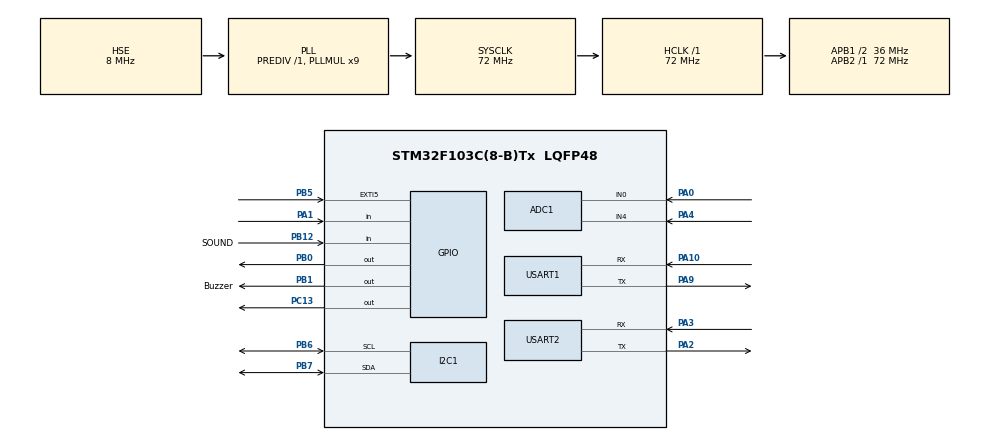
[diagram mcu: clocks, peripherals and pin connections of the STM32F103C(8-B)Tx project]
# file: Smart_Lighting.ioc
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ADC1.Channel-0\#ChannelRegularConversion=ADC_CHANNEL_0
ADC1.NbrOfConversionFlag=1
ADC1.Rank-0\#ChannelRegularConversion=1
ADC1.SamplingTime-0\#ChannelRegularConversion=ADC_SAMPLETIME_1CYCLE_5
ADC1.master=1
Mcu.Family=STM32F1
Mcu.Name=STM32F103C(8-B)Tx
Mcu.Package=LQFP48
NVIC.EXTI9_5_IRQn=true\:0\:0\:false\:false\:true\:true\:true
NVIC.PriorityGroup=NVIC_PRIORITYGROUP_4
NVIC.USART2_IRQn=true\:0\:0\:false\:false\:true\:true\:true
PA0-WKUP.Signal=ADCx_IN0
PA1.Signal=GPIO_Input
PA10.Mode=Asynchronous
PA10.Signal=USART1_RX
PA13.Mode=Serial_Wire
PA13.Signal=SYS_JTMS-SWDIO
PA14.Mode=Serial_Wire
PA14.Signal=SYS_JTCK-SWCLK
PA2.Mode=Asynchronous
PA2.Signal=USART2_TX
PA3.Mode=Asynchronous
PA3.Signal=USART2_RX
PA4.Signal=ADCx_IN4
PA9.Mode=Asynchronous
PA9.Signal=USART1_TX
PB0.Signal=GPIO_Output
PB1.GPIO_Label=Buzzer
PB1.PinState=GPIO_PIN_SET
PB1.Signal=GPIO_Output
PB12.GPIO_Label=SOUND
PB12.Signal=GPIO_Input
PB5.GPIO_ModeDefaultEXTI=GPIO_MODE_IT_RISING_FALLING
PB5.GPIO_PuPd=GPIO_PULLUP
PB5.Signal=GPXTI5
PB6.Mode=I2C
PB6.Signal=I2C1_SCL
PB7.Mode=I2C
PB7.Signal=I2C1_SDA
PC13-TAMPER-RTC.Signal=GPIO_Output
PD0-OSC_IN.Mode=HSE-External-Oscillator
PD0-OSC_IN.Signal=RCC_OSC_IN
PD1-OSC_OUT.Mode=HSE-External-Oscillator
PD1-OSC_OUT.Signal=RCC_OSC_OUT
ProjectManager.HeapSize=0x200
ProjectManager.StackSize=0x400
ProjectManager.TargetToolchain=MDK-ARM V5.27
RCC.ADCPresc=RCC_ADCPCLK2_DIV6
RCC.AHBFreq_Value=72000000
RCC.APB1CLKDivider=RCC_HCLK_DIV2
RCC.APB1Freq_Value=36000000
RCC.APB1TimFreq_Value=72000000
RCC.APB2Freq_Value=72000000
RCC.APB2TimFreq_Value=72000000
RCC.HCLKFreq_Value=72000000
RCC.PLLMUL=RCC_PLL_MUL9
RCC.PLLSourceVirtual=RCC_PLLSOURCE_HSE
RCC.SYSCLKFreq_VALUE=72000000
RCC.SYSCLKSource=RCC_SYSCLKSOURCE_PLLCLK
RCC.USBFreq_Value=72000000
SH.ADCx_IN0.0=ADC1_IN0,IN0
SH.ADCx_IN4.0=ADC1_IN4,IN4
USART1.VirtualMode=VM_ASYNC
USART2.VirtualMode=VM_ASYNC
board=custom

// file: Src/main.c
/* USER CODE BEGIN Header */
/**
  ******************************************************************************
  * @file           : main.c
  * @brief          : 智能灯控系统主程序
  ******************************************************************************
  */
/* USER CODE END Header */

#include "main.h"
#include "adc.h"
#include "i2c.h"
#include "usart.h"
#include "gpio.h"

/* USER CODE BEGIN Includes */
#include <stdio.h>
#include "oled.h"
#include <string.h>
#include "network_config.h"
/* USER CODE END Includes */

/* USER CODE BEGIN PD */
#define AUTO_OFF_DELAY  10000     //自动关灯延时时间
#define LIGHT_DARK_THRESHOLD 1500 // 光线判暗阈值
/* USER CODE END PD */

/* USER CODE BEGIN PV */
uint16_t light_value = 0;  // 光敏传感器ADC采集值 (0-4095)
uint16_t smoke_value = 0;  // 烟雾传感器ADC采集值 (0-4095)
uint8_t human_state = 0;   // 人体红外传感器状态 (0:无人, 1:有人)
uint8_t sound_state = 0;   // 声音传感器状态 (0:无声, 1:有声)

uint8_t cloud_light_on = 0; // 照明控制模式标志位 (0:自动控制, 1:手动控制)
uint8_t need_reply = 0;     // 云端指令响应标志位 (0:空闲, 1:需要发送回执)
char reply_id[20] = {0};    // 暂存云端下发的流水号ID，用于匹配回执

volatile uint8_t exti_short_press = 0; // 物理按键短按标志位
volatile uint8_t exti_long_press = 0;  // 物理按键长按标志位
uint32_t exti_down_time = 0;           // 记录按键按下的系统时间戳

uint32_t auto_light_off_time = 0; // 自动关灯的时间节点记录

volatile uint8_t need_reconnect = 0; // 网络断线重连标志位 (0:正常, 1:触发重连流程)
volatile uint8_t is_connecting = 0;  // 网络连接状态标志位 (0:空闲/已连接, 1:正在连接中)

uint32_t last_heartbeat_tick = 0;    // 上次发送心跳包的时间戳
volatile uint8_t error_count = 0;    // 通信错误容错计数器

// AT指令响应标志位，用于提前结束等待，加快指令执行速度
volatile uint8_t at_cmd_ok = 0;
/* USER CODE END PV */

void SystemClock_Config(void);
/* USER CODE BEGIN PFP */
void System_Core_Task(void);
/* USER CODE END PFP */

/* USER CODE BEGIN 0 */

/* --- 串口接收缓冲区定义 --- */
uint8_t rx_data;
char rx_buffer[512];
uint16_t rx_index = 0;

/* --- 串口接收中断回调函数 --- */
void HAL_UART_RxCpltCallback(UART_HandleTypeDef *huart)
{
    if (huart->Instance == USART2)
    {
        rx_buffer[rx_index++] = rx_data;
        if (rx_index >= 512) rx_index = 0; // 防止缓冲区溢出

        if (rx_data == '\n')
        {
            rx_buffer[rx_index] = '\0'; // 接收到换行符，完成一帧数据接收

            // 1. 解析云端下发的继电器开关指令
            if (strstr(rx_buffer, "\"relay\":true") != NULL)
            {
                cloud_light_on = 1;
                HAL_GPIO_WritePin(GPIOB, GPIO_PIN_0, GPIO_PIN_SET);
            }
            else if (strstr(rx_buffer, "\"relay\":false") != NULL)
            {
                cloud_light_on = 0;
                HAL_GPIO_WritePin(GPIOB, GPIO_PIN_0, GPIO_PIN_RESET);
            }

            // 2. 提取云端指令流水号ID，准备发送执行回执
            char *id_ptr = strstr(rx_buffer, "\"id\":\"");
            if (id_ptr != NULL)
            {
                id_ptr += 6;
                int i = 0;
                while (*id_ptr != '\"' && i < 19 && *id_ptr != '\0') {
                    reply_id[i++] = *id_ptr++;
                }
                reply_id[i] = '\0';
                need_reply = 1;
            }

            // 3. 检测指令执行成功标志位 (OK 或 获取到IP)，用于跳出延时阻塞
            if (strstr(rx_buffer, "OK") != NULL || strstr(rx_buffer, "GOT IP") != NULL) {
                at_cmd_ok = 1;
            }

            // 4. 网络异常监测与容错机制 (仅在正常运行状态下检测)
            if (is_connecting == 0)
            {
                // 检测到明确的断开连接提示，立即触发重连
                if (strstr(rx_buffer, "DISCONNECT") != NULL || strstr(rx_buffer, "CLOSED") != NULL)
                {
                    need_reconnect = 1;
                    error_count = 0;
                }
                // 检测到通信错误，进行容错计数累计
                else if (strstr(rx_buffer, "ERROR") != NULL)
                {
                    error_count++;
                    // 连续3次错误则判定网络断开，避免偶发卡顿导致频繁重连
                    if (error_count >= 3) {
                        need_reconnect = 1;
                        error_count = 0;
                    }
                }
                // 收到正常回复，清零通信错误计数
                else if (strstr(rx_buffer, "OK") != NULL)
                {
                    error_count = 0;
                }
            }

            // 清理缓冲区，准备接收下一帧数据
            rx_index = 0;
            memset(rx_buffer, 0, 512);
        }
        // 重新开启中断接收
        HAL_UART_Receive_IT(&huart2, &rx_data, 1);
    }
}

/* --- 发送WiFi模块AT指令 --- */
void WiFi_SendData(char *cmd) {
    HAL_UART_Transmit(&huart2, (uint8_t *)cmd, strlen(cmd), 100);
}

/*开机初始化网络配置流程*/
void WiFi_Init_Boot(void) {
    is_connecting = 1; // 标记系统正在连接网络
    // OLED 显示启动画面
    OLED_Clear();
    OLED_ShowString(0, 0, (uint8_t *)"Booting...", 16);
    OLED_ShowString(0, 2, (uint8_t *)"WiFi connecting", 16);
    // 延时等待 ESP8266 模块内部系统启动完成
    for(int i=0; i<10; i++) { HAL_GPIO_TogglePin(GPIOC, GPIO_PIN_13); HAL_Delay(200); }
    // 配置为 Station 模式
    rx_index = 0; memset(rx_buffer, 0, 512);
    at_cmd_ok = 0; WiFi_SendData("AT+CWMODE=1\r\n");
    for(int i=0; i<3; i++) { HAL_Delay(200); if(at_cmd_ok) break; }
    // 连接指定的 WiFi 热点
    rx_index = 0; memset(rx_buffer, 0, 512);
    at_cmd_ok = 0; WiFi_SendData(LIGHTING_WIFI_JOIN_CMD);
    for(int i=0; i<50; i++) { HAL_GPIO_TogglePin(GPIOC, GPIO_PIN_13); HAL_Delay(200); if(at_cmd_ok) break; }
    // 如果连接 WiFi 热点失败，跳出初始化流程，由主循环的重连机制接管
    if (at_cmd_ok == 0) {
        need_reconnect = 1;
        is_connecting = 1;
        rx_index = 0; memset(rx_buffer, 0, 512);
        OLED_Clear();
        return;
    }
    // WiFi 连接成功，继续配置 MQTT 云端连接
    rx_index = 0; memset(rx_buffer, 0, 512);
    at_cmd_ok = 0; WiFi_SendData("AT+MQTTCLEAN=0\r\n");
    for(int i=0; i<4; i++) { HAL_Delay(250); if(at_cmd_ok) break; }
    // 配置 OneNET 鉴权参数
    rx_index = 0; memset(rx_buffer, 0, 512);
    at_cmd_ok = 0; WiFi_SendData(LIGHTING_MQTT_CONFIG_CMD);
    for(int i=0; i<4; i++) { HAL_Delay(250); if(at_cmd_ok) break; }
    // 发起云端 MQTT 连接
    rx_index = 0; memset(rx_buffer, 0, 512);
    at_cmd_ok = 0; WiFi_SendData(LIGHTING_MQTT_CONNECT_CMD);
    for(int i=0; i<20; i++) { HAL_GPIO_TogglePin(GPIOC, GPIO_PIN_13); HAL_Delay(250); if(at_cmd_ok) break; }
    // 订阅云端控制 Topic
    rx_index = 0; memset(rx_buffer, 0, 512);
    at_cmd_ok = 0; WiFi_SendData(LIGHTING_MQTT_SUBSCRIBE_CMD);
    for(int i=0; i<8; i++) { HAL_Delay(250); if(at_cmd_ok) break; }
    // 检查网络初始化最终结果
    if (at_cmd_ok == 1) {
        need_reconnect = 0;
        is_connecting = 0; // 初始化成功，恢复常规运行状态
        error_count = 0;
    } else {
        need_reconnect = 1;
        is_connecting = 1; // 初始化失败，维持连接状态并触发重连
    }
    rx_index = 0; memset(rx_buffer, 0, 512);
    OLED_Clear();
}
/*系统核心任务调度：传感器读取、逻辑控制与UI刷新*/
void System_Core_Task(void) {
    // 1. 物理按键事件处理 (保证在阻塞重连期间依然有效响应)
    if (exti_short_press == 1)
    {
        exti_short_press = 0;
        cloud_light_on = !cloud_light_on; // 切换工作模式
        if (cloud_light_on == 1) HAL_GPIO_WritePin(GPIOB, GPIO_PIN_0, GPIO_PIN_SET);
        else                     HAL_GPIO_WritePin(GPIOB, GPIO_PIN_0, GPIO_PIN_RESET);

        // 蜂鸣器短音反馈
        HAL_GPIO_WritePin(GPIOB, GPIO_PIN_1, GPIO_PIN_RESET);
        HAL_Delay(50);
        HAL_GPIO_WritePin(GPIOB, GPIO_PIN_1, GPIO_PIN_SET);
    }

    if (exti_long_press == 1)
    {
        exti_long_press = 0;
        // 蜂鸣器长音反馈
        HAL_GPIO_WritePin(GPIOB, GPIO_PIN_1, GPIO_PIN_RESET);
        HAL_Delay(500);
        HAL_GPIO_WritePin(GPIOB, GPIO_PIN_1, GPIO_PIN_SET);
        need_reconnect = 1; // 触发网络重新配网流程
    }

    // 2. 系统状态指示灯控制 (PC13)
    if (is_connecting == 1) {
        // 网络连接中：快速闪烁
        HAL_GPIO_TogglePin(GPIOC, GPIO_PIN_13);
    } else if (cloud_light_on == 1) {
        // 手动模式：常亮 (注意：低电平 RESET 才是亮)
        HAL_GPIO_WritePin(GPIOC, GPIO_PIN_13, GPIO_PIN_RESET);
    } else {
        // 自动模式：心跳慢闪 (短促闪亮100ms，熄灭1900ms)
        uint32_t cycle_time = HAL_GetTick() % 2000;
        if (cycle_time < 100) HAL_GPIO_WritePin(GPIOC, GPIO_PIN_13, GPIO_PIN_RESET); // 亮
        else                  HAL_GPIO_WritePin(GPIOC, GPIO_PIN_13, GPIO_PIN_SET);   // 灭
    }

    // 3. 读取环境光照与烟雾浓度 (ADC采集)
    ADC_ChannelConfTypeDef sConfig = {0};
    sConfig.Channel = ADC_CHANNEL_0;
    sConfig.Rank = 1;
    sConfig.SamplingTime = ADC_SAMPLETIME_55CYCLES_5;
    HAL_ADC_ConfigChannel(&hadc1, &sConfig);
    HAL_ADC_Start(&hadc1);
    HAL_ADC_PollForConversion(&hadc1, 10);
    light_value = 4095 - HAL_ADC_GetValue(&hadc1);
    HAL_ADC_Stop(&hadc1);

    sConfig.Channel = ADC_CHANNEL_4;
    HAL_ADC_ConfigChannel(&hadc1, &sConfig);
    HAL_ADC_Start(&hadc1);
    HAL_ADC_PollForConversion(&hadc1, 10);
    smoke_value = HAL_ADC_GetValue(&hadc1);
    HAL_ADC_Stop(&hadc1);

    // 4. 读取人体红外与声音传感器状态 (GPIO)
    human_state = HAL_GPIO_ReadPin(GPIOA, GPIO_PIN_1);

    // 连续多次采样以提高声音传感器的捕获率
    static uint32_t sound_last_time = 0;
    for(int i = 0; i < 50; i++) {
        if(HAL_GPIO_ReadPin(GPIOB, GPIO_PIN_12) == GPIO_PIN_RESET) {
            sound_last_time = HAL_GetTick();
            break;
        }
        HAL_Delay(1);
    }
    // 维持声音状态 2 秒钟，防止状态闪烁
    if(HAL_GetTick() - sound_last_time < 2000) sound_state = 1;
    else sound_state = 0;

    // 5. OLED 界面数据显示
    char str_val[10];

    OLED_ShowChinese(0,  0, 0); // "光"
    OLED_ShowChinese(16, 0, 1); // "照"
    OLED_ShowString(32,  0, (uint8_t *)":", 16);
    sprintf(str_val, "%04d", light_value);
    OLED_ShowString(48,  0, (uint8_t *)str_val, 16);

    // 根据网络状态和工作模式显示右上角状态角标
    if (is_connecting == 1) {
        OLED_ShowString(96, 0, (uint8_t *)"Conn", 16);
    } else if(cloud_light_on == 0) {
        OLED_ShowString(96, 0, (uint8_t *)"Auto", 16);
    } else {
        OLED_ShowString(96, 0, (uint8_t *)"Manu", 16);
    }

    OLED_ShowChinese(0,  2, 2); // "烟"
    OLED_ShowChinese(16, 2, 3); // "雾"
    OLED_ShowString(32,  2, (uint8_t *)":", 16);
    sprintf(str_val, "%04d", smoke_value);
    OLED_ShowString(48,  2, (uint8_t *)str_val, 16);

    OLED_ShowChinese(0,  4, 4); // "人"
    OLED_ShowChinese(16, 4, 5); // "员"
    OLED_ShowString(32,  4, (uint8_t *)":", 16);
    if(human_state == 1) OLED_ShowChinese(48, 4, 8); // "有"
    else                 OLED_ShowChinese(48, 4, 9); // "无"

    OLED_ShowChinese(0,  6, 6); // "声"
    OLED_ShowChinese(16, 6, 7); // "音"
    OLED_ShowString(32,  6, (uint8_t *)":", 16);
    if(sound_state == 1) OLED_ShowChinese(48, 6, 8); // "有"
    else                 OLED_ShowChinese(48, 6, 9); // "无"

    // 6. 自动化控制逻辑与报警触发
    if (smoke_value > 2500)
    {
        // 触发火灾警报：强制开灯并蜂鸣器报警
        HAL_GPIO_WritePin(GPIOB, GPIO_PIN_0, GPIO_PIN_SET);
        for(int beep = 0; beep < 3; beep++) {
            HAL_GPIO_WritePin(GPIOB, GPIO_PIN_1, GPIO_PIN_RESET);
            HAL_Delay(80);
            HAL_GPIO_WritePin(GPIOB, GPIO_PIN_1, GPIO_PIN_SET);
            HAL_Delay(40);
        }
        HAL_Delay(150);
    }
    else if (light_value < LIGHT_DARK_THRESHOLD && (human_state == 1 || sound_state == 1))
    {
        // 触发自动照明：环境变暗且有人/有声
        HAL_GPIO_WritePin(GPIOB, GPIO_PIN_1, GPIO_PIN_SET);
        HAL_GPIO_WritePin(GPIOB, GPIO_PIN_0, GPIO_PIN_SET);
        auto_light_off_time = HAL_GetTick() + AUTO_OFF_DELAY; // 刷新延迟关灯时间戳
    }
    else
    {
        HAL_GPIO_WritePin(GPIOB, GPIO_PIN_1, GPIO_PIN_SET);
        // 延时自动关灯 (仅在自动模式下生效)
        if (cloud_light_on == 0)
        {
            if (HAL_GetTick() >= auto_light_off_time)
            {
                HAL_GPIO_WritePin(GPIOB, GPIO_PIN_0, GPIO_PIN_RESET);
            }
        }
    }
}
/* USER CODE END 0 */

int main(void)
{

  /* MCU Configuration--------------------------------------------------------*/

  /* Reset of all peripherals, Initializes the Flash interface and the Systick. */
  HAL_Init();

  /* Configure the system clock */
  SystemClock_Config();

  /* Initialize all configured peripherals */
  MX_GPIO_Init();
  MX_ADC1_Init();
  MX_USART1_UART_Init();
  MX_I2C1_Init();
  MX_USART2_UART_Init();
  /* USER CODE BEGIN 2 */
  OLED_Init();
  OLED_Clear();
  // 仅联网版本接收 Wi-Fi 模块的数据
  if (LIGHTING_NETWORK_ENABLED) {
      HAL_UART_Receive_IT(&huart2, &rx_data, 1);
  }
  // 上电硬件自检提示音
  HAL_GPIO_WritePin(GPIOB, GPIO_PIN_1, GPIO_PIN_RESET);
  HAL_Delay(200);
  HAL_GPIO_WritePin(GPIOB, GPIO_PIN_1, GPIO_PIN_SET);
  // 执行开机网络初始化
  if (LIGHTING_NETWORK_ENABLED) {
      WiFi_Init_Boot();
  }
  // 网络连接成功提示音
  if (at_cmd_ok == 1) {
      HAL_GPIO_WritePin(GPIOB, GPIO_PIN_1, GPIO_PIN_RESET);
      HAL_Delay(100);
      HAL_GPIO_WritePin(GPIOB, GPIO_PIN_1, GPIO_PIN_SET);
  }
  // 初始化心跳包时间基准
  last_heartbeat_tick = HAL_GetTick();
  /* USER CODE END 2 */

  /* Infinite loop */
  while (1)
  {

    /* USER CODE BEGIN 3 */
        // 串口溢出错误(ORE)恢复机制：防止大量数据并发导致中断死锁
        if (LIGHTING_NETWORK_ENABLED && __HAL_UART_GET_FLAG(&huart2, UART_FLAG_ORE) != RESET) {
            __HAL_UART_CLEAR_OREFLAG(&huart2);
            HAL_UART_Receive_IT(&huart2, &rx_data, 1);
        }
        // 1. 调度执行系统核心任务
        System_Core_Task();
        // 2. 网络断线重连处理任务
        if (LIGHTING_NETWORK_ENABLED && need_reconnect == 1)
        {
            is_connecting = 1;
            // OLED 屏幕显示断线重连提示
            OLED_Clear();
            OLED_ShowString(0, 0, (uint8_t *)"Net Lost!", 16);
            OLED_ShowString(0, 2, (uint8_t *)"Reconnecting...", 16);
            // 蜂鸣器短促报警两次提示网络断开
            for(int i=0; i<2; i++) {
                HAL_GPIO_WritePin(GPIOB, GPIO_PIN_1, GPIO_PIN_RESET);
                HAL_Delay(200);
                HAL_GPIO_WritePin(GPIOB, GPIO_PIN_1, GPIO_PIN_SET);
                HAL_Delay(100);
            }
            HAL_Delay(500);
            OLED_Clear(); // 提示结束，返回主界面运行态
            // 执行网络重连指令序列 (加入系统调度延时以维持界面刷新)
            WiFi_SendData("AT+RST\r\n"); // 模块复位以确保状态清除
            for(int i=0; i<15; i++) { System_Core_Task(); HAL_Delay(200); }
            rx_index = 0; memset(rx_buffer, 0, 512);
            at_cmd_ok = 0; WiFi_SendData("AT+CWMODE=1\r\n");
            for(int i=0; i<3; i++) { System_Core_Task(); HAL_Delay(200); if(at_cmd_ok) break; }
            rx_index = 0; memset(rx_buffer, 0, 512);
            at_cmd_ok = 0; WiFi_SendData(LIGHTING_WIFI_JOIN_CMD);
            for(int i=0; i<50; i++) { System_Core_Task(); HAL_Delay(200); if(at_cmd_ok) break; }
            rx_index = 0; memset(rx_buffer, 0, 512);
            at_cmd_ok = 0; WiFi_SendData("AT+MQTTCLEAN=0\r\n");
            for(int i=0; i<4; i++) { System_Core_Task(); HAL_Delay(250); if(at_cmd_ok) break; }
            rx_index = 0; memset(rx_buffer, 0, 512);
            at_cmd_ok = 0; WiFi_SendData(LIGHTING_MQTT_CONFIG_CMD);
            for(int i=0; i<4; i++) { System_Core_Task(); HAL_Delay(250); if(at_cmd_ok) break; }
            rx_index = 0; memset(rx_buffer, 0, 512);
            at_cmd_ok = 0; WiFi_SendData(LIGHTING_MQTT_CONNECT_CMD);
            for(int i=0; i<20; i++) { System_Core_Task(); HAL_Delay(250); if(at_cmd_ok) break; }
            rx_index = 0; memset(rx_buffer, 0, 512);
            at_cmd_ok = 0; WiFi_SendData(LIGHTING_MQTT_SUBSCRIBE_CMD);
            for(int i=0; i<4; i++) { System_Core_Task(); HAL_Delay(250); if(at_cmd_ok) break; }
            // 验证重连结果并恢复系统状态
            if (at_cmd_ok == 1)
            {
                // 重连成功，蜂鸣器提示并延时稳定
                HAL_GPIO_WritePin(GPIOB, GPIO_PIN_1, GPIO_PIN_RESET);
                HAL_Delay(150);
                HAL_GPIO_WritePin(GPIOB, GPIO_PIN_1, GPIO_PIN_SET);
                for(int i=0; i<2; i++) { System_Core_Task(); HAL_Delay(200); }
                need_reconnect = 0;
                error_count = 0;
                is_connecting = 0; // 恢复常规运行网络状态
            }
            else
            {
                // 重连失败，维持异常标记以触发下一次重试流程
                need_reconnect = 1;
                is_connecting = 1;
                // 防过热保护延时
                for(int i=0; i<15; i++) { System_Core_Task(); HAL_Delay(200); }
            }
            // 清理缓冲区残留数据
            rx_index = 0;
            memset(rx_buffer, 0, 512);
            last_heartbeat_tick = HAL_GetTick(); // 重置心跳包时间基准，防止刚连上就超时
        }

        // 3. 云端通信任务：回执响应与心跳数据上报
        if (LIGHTING_NETWORK_ENABLED && need_reply == 1)
        {
            need_reply = 0;
            char reply_cmd[256];
            char reply_payload[100];
            // 组装执行结果回执 JSON
            sprintf(reply_payload, "{\"id\":\"%s\",\"code\":200,\"msg\":\"success\"}", reply_id);
            sprintf(reply_cmd, LIGHTING_MQTT_PUBLISH_FMT("set_reply"), strlen(reply_payload));

            HAL_UART_Transmit(&huart2, (uint8_t *)reply_cmd, strlen(reply_cmd), 500);
            HAL_Delay(100);
            HAL_UART_Transmit(&huart2, (uint8_t *)reply_payload, strlen(reply_payload), 500);
        }

        uint32_t current_tick = HAL_GetTick();

        // 定时上报传感器数据 (每3秒一次)
        if (current_tick - last_heartbeat_tick >= 3000)
        {
            // 仅在网络正常运行状态下上报数据
            if (LIGHTING_NETWORK_ENABLED && is_connecting == 0)
            {
                char topic_cmd[256];
                char payload[300];
                char* relay_state = "false";
                if(HAL_GPIO_ReadPin(GPIOB, GPIO_PIN_0) == GPIO_PIN_SET) relay_state = "true";

                // 组装环境数据上报 JSON
                sprintf(payload, "{\"id\":\"123\",\"version\":\"1.0\",\"params\":{\"light\":{\"value\":%d},\"smoke\":{\"value\":%d},\"human\":{\"value\":%d},\"sound\":{\"value\":%d},\"relay\":{\"value\":%s}}}",
                        light_value, smoke_value, human_state, sound_state, relay_state);
                sprintf(topic_cmd, LIGHTING_MQTT_PUBLISH_FMT("post"), strlen(payload));

                HAL_UART_Transmit(&huart2, (uint8_t *)topic_cmd, strlen(topic_cmd), 500);
                HAL_Delay(100);
                HAL_UART_Transmit(&huart2, (uint8_t *)payload, strlen(payload), 500);
            }
            last_heartbeat_tick = current_tick;
        }

  }
  /* USER CODE END 3 */
}

void SystemClock_Config(void)
{
  RCC_OscInitTypeDef RCC_OscInitStruct = {0};
  RCC_ClkInitTypeDef RCC_ClkInitStruct = {0};
  RCC_PeriphCLKInitTypeDef PeriphClkInit = {0};

  /** Initializes the CPU, AHB and APB busses clocks
  */
  RCC_OscInitStruct.OscillatorType = RCC_OSCILLATORTYPE_HSE;
  RCC_OscInitStruct.HSEState = RCC_HSE_ON;
  RCC_OscInitStruct.HSEPredivValue = RCC_HSE_PREDIV_DIV1;
  RCC_OscInitStruct.HSIState = RCC_HSI_ON;
  RCC_OscInitStruct.PLL.PLLState = RCC_PLL_ON;
  RCC_OscInitStruct.PLL.PLLSource = RCC_PLLSOURCE_HSE;
  RCC_OscInitStruct.PLL.PLLMUL = RCC_PLL_MUL9;
  if (HAL_RCC_OscConfig(&RCC_OscInitStruct) != HAL_OK)
  {
    Error_Handler();
  }
  /** Initializes the CPU, AHB and APB busses clocks
  */
  RCC_ClkInitStruct.ClockType = RCC_CLOCKTYPE_HCLK|RCC_CLOCKTYPE_SYSCLK
                              |RCC_CLOCKTYPE_PCLK1|RCC_CLOCKTYPE_PCLK2;
  RCC_ClkInitStruct.SYSCLKSource = RCC_SYSCLKSOURCE_PLLCLK;
  RCC_ClkInitStruct.AHBCLKDivider = RCC_SYSCLK_DIV1;
  RCC_ClkInitStruct.APB1CLKDivider = RCC_HCLK_DIV2;
  RCC_ClkInitStruct.APB2CLKDivider = RCC_HCLK_DIV1;

  if (HAL_RCC_ClockConfig(&RCC_ClkInitStruct, FLASH_LATENCY_2) != HAL_OK)
  {
    Error_Handler();
  }
  PeriphClkInit.PeriphClockSelection = RCC_PERIPHCLK_ADC;
  PeriphClkInit.AdcClockSelection = RCC_ADCPCLK2_DIV6;
  if (HAL_RCCEx_PeriphCLKConfig(&PeriphClkInit) != HAL_OK)
  {
    Error_Handler();
  }
}

/* USER CODE BEGIN 4 */

/* --- 重定向 printf 到串口 --- */
int fputc(int ch, FILE *f)
{
  HAL_UART_Transmit(&huart1, (uint8_t *)&ch, 1, 1000);
  return ch;
}

/*外部中断处理回调函数 (物理按键响应)*/
void HAL_GPIO_EXTI_Callback(uint16_t GPIO_Pin)
{
    if(GPIO_Pin == GPIO_PIN_5)
    {
        // 捕获下降沿，记录按键按下时间戳
        if(HAL_GPIO_ReadPin(GPIOB, GPIO_PIN_5) == GPIO_PIN_RESET)
        {
            exti_down_time = HAL_GetTick();
        }
        // 捕获上升沿，计算按键保持时间以区分长短按
        else
        {
            uint32_t duration = HAL_GetTick() - exti_down_time;
            if(duration > 2000) exti_long_press = 1;      // 按压超过 2 秒判定为长按
            else if(duration > 15) exti_short_press = 1;  // 大于 15ms 判定为有效短按(已消抖)
        }
    }
}
/* USER CODE END 4 */

void Error_Handler(void)
{
}

/************************ (C) COPYRIGHT STMicroelectronics *****END OF FILE****/
